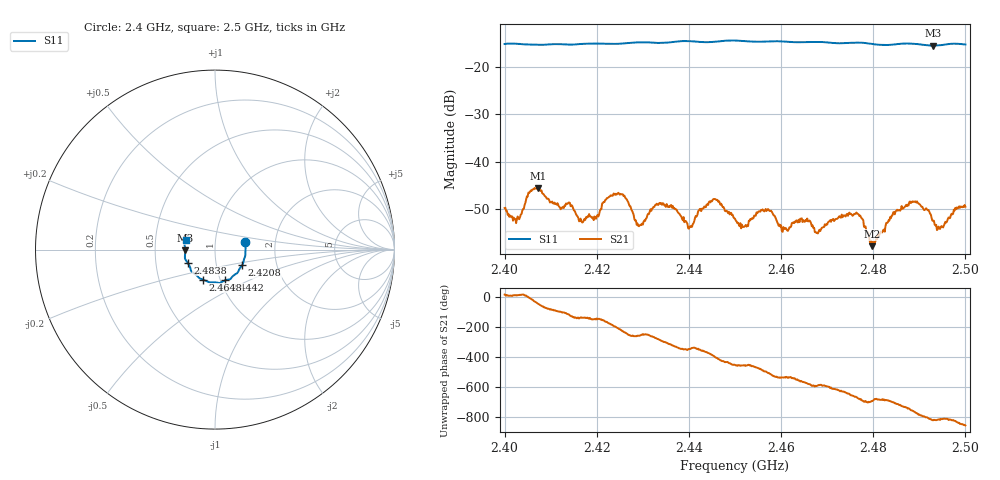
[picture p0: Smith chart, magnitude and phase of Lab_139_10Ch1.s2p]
# Hz S RI R 50
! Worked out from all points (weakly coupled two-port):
!   601 points, 2.4 GHz to 2.5 GHz, reference 50 ohm
!   highest |S21| = -45.55 dB at 2.4073 GHz (marker M1); lowest = -57.8 dB at 2.4798 GHz (marker M2)
!   lowest |S11| = -15.6 dB at 2.493 GHz (marker M3), VSWR 1.40, Z = 35.8 - j0.21 ohm
!   |S11| at or under -10 dB: start of sweep to end of sweep
!   S12 and S22 are empty: the file has one direction only
!   S11 on the Smith chart (normalised r, x): 2.4 GHz: 1.40, +0.12; 2.4208 GHz: 1.33, -0.24; 2.4442 GHz: 1.05, -0.37; 2.4648 GHz: 0.83, -0.29; 2.4838 GHz: 0.73, -0.11; 2.5 GHz: 0.72, +0.08
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2.4e9  0.1677 0.0411  0.00312 0.000886  0 0  0 0
2.402833e9  0.1713 0.0255  0.00259 0.000521  0 0  0 0
2.407333e9  0.169 -0.0121  0.00359 -0.00387  0 0  0 0
2.416667e9  0.159 -0.068  -0.00171 -0.00162  0 0  0 0
2.420833e9  0.1508 -0.0871  -0.00271 -0.00159  0 0  0 0
2.425167e9  0.1354 -0.1092  -0.00358 0.00284  0 0  0 0
2.4295e9  0.1259 -0.1286  -0.000545 0.0021  0 0  0 0
2.433333e9  0.1079 -0.1403  0.00061 0.00344  0 0  0 0
2.440333e9  0.0806 -0.1662  0.00198 0.000523  0 0  0 0
2.444167e9  0.0567 -0.1714  0.00341 -0.000794  0 0  0 0
2.45e9  0.0245 -0.1862  -8.24e-05 -0.0025  0 0  0 0
2.457e9  -0.0201 -0.1824  -0.00246 -0.00192  0 0  0 0
2.464833e9  -0.0683 -0.1668  -0.00219 0.00102  0 0  0 0
2.466667e9  -0.08 -0.1627  -0.00132 0.00162  0 0  0 0
2.476333e9  -0.1293 -0.1228  0.00169 0.00237  0 0  0 0
2.479833e9  -0.1372 -0.1047  0.00114 0.000597  0 0  0 0
2.483333e9  -0.1504 -0.0762  0.00204 0.00129  0 0  0 0
2.483833e9  -0.1532 -0.072  0.0023 0.00107  0 0  0 0
2.489e9  -0.1677 -0.0432  0.00268 -0.00265  0 0  0 0
2.493e9  -0.1659 -0.00286  -0.00044 -0.00235  0 0  0 0
2.494833e9  -0.1674 0.0161  -8.09e-05 -0.0021  0 0  0 0
2.5e9  -0.1622 0.053  -0.00235 -0.00239  0 0  0 0
